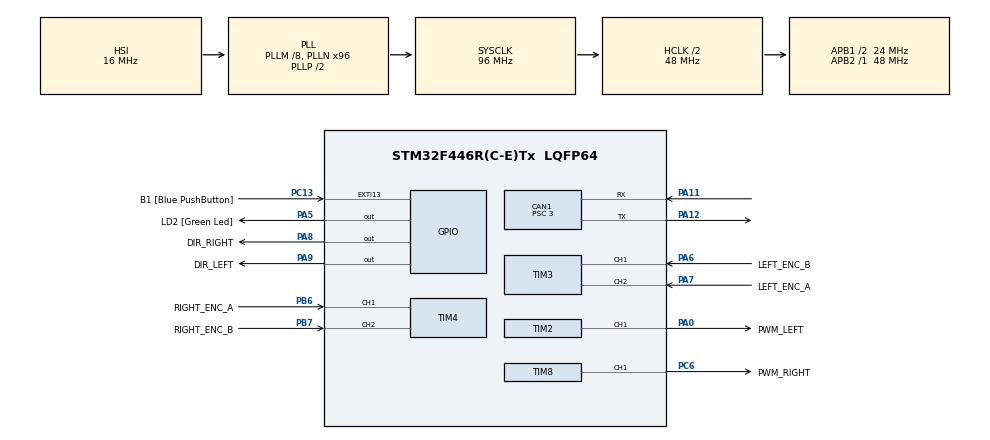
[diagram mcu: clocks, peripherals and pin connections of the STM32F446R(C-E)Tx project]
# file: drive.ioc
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CAN1.BS1=CAN_BS1_13TQ
CAN1.BS2=CAN_BS2_2TQ
CAN1.CalculateBaudRate=500000
CAN1.CalculateTimeBit=2000
CAN1.CalculateTimeQuantum=125.0
CAN1.Prescaler=3
Mcu.Family=STM32F4
Mcu.Name=STM32F446R(C-E)Tx
Mcu.Package=LQFP64
NVIC.CAN1_RX0_IRQn=true\:0\:0\:false\:false\:true\:true\:true\:true
NVIC.PriorityGroup=NVIC_PRIORITYGROUP_0
PA0-WKUP.GPIO_Label=PWM_LEFT
PA0-WKUP.Signal=S_TIM2_CH1_ETR
PA11.Mode=CAN_Activate
PA11.Signal=CAN1_RX
PA12.Mode=CAN_Activate
PA12.Signal=CAN1_TX
PA13.GPIO_Label=TMS
PA13.Signal=SYS_JTMS-SWDIO
PA14.GPIO_Label=TCK
PA14.Signal=SYS_JTCK-SWCLK
PA2.GPIO_Label=USART_TX
PA2.Signal=USART2_TX
PA3.GPIO_Label=USART_RX
PA3.Signal=USART2_RX
PA5.GPIO_Label=LD2 [Green Led]
PA5.Signal=GPIO_Output
PA6.GPIO_Label=LEFT_ENC_B
PA6.Signal=S_TIM3_CH1
PA7.GPIO_Label=LEFT_ENC_A
PA7.Signal=S_TIM3_CH2
PA8.GPIO_Label=DIR_RIGHT
PA8.GPIO_PuPd=GPIO_PULLUP
PA8.Signal=GPIO_Output
PA9.GPIO_Label=DIR_LEFT
PA9.GPIO_PuPd=GPIO_PULLUP
PA9.Signal=GPIO_Output
PB3.GPIO_Label=SWO
PB3.Signal=SYS_JTDO-SWO
PB6.GPIO_Label=RIGHT_ENC_A
PB6.Signal=S_TIM4_CH1
PB7.GPIO_Label=RIGHT_ENC_B
PB7.Signal=S_TIM4_CH2
PC13.GPIO_Label=B1 [Blue PushButton]
PC13.GPIO_ModeDefaultEXTI=GPIO_MODE_IT_FALLING
PC13.Signal=GPXTI13
PC14-OSC32_IN.Signal=RCC_OSC32_IN
PC15-OSC32_OUT.Signal=RCC_OSC32_OUT
PC6.GPIO_Label=PWM_RIGHT
PC6.Signal=S_TIM8_CH1
PH0-OSC_IN.Mode=HSE-External-Oscillator
PH0-OSC_IN.Signal=RCC_OSC_IN
PH1-OSC_OUT.Mode=HSE-External-Oscillator
PH1-OSC_OUT.Signal=RCC_OSC_OUT
ProjectManager.HeapSize=0x200
ProjectManager.StackSize=0x400
ProjectManager.TargetToolchain=STM32CubeIDE
RCC.AHBCLKDivider=RCC_SYSCLK_DIV2
RCC.AHBFreq_Value=48000000
RCC.APB1CLKDivider=RCC_HCLK_DIV2
RCC.APB1Freq_Value=24000000
RCC.APB1TimFreq_Value=48000000
RCC.APB2Freq_Value=48000000
RCC.APB2TimFreq_Value=48000000
RCC.CortexFreq_Value=48000000
RCC.FLatency-AdvancedSettings=FLASH_LATENCY_1
RCC.HCLKFreq_Value=48000000
RCC.HSE_VALUE=8000000
RCC.HSI_VALUE=16000000
RCC.LSE_VALUE=32768
RCC.PLLM=8
RCC.PLLN=96
RCC.SYSCLKFreq_VALUE=96000000
RCC.SYSCLKSource=RCC_SYSCLKSOURCE_PLLCLK
RCC.USBFreq_Value=96000000
RCC.VCOOutputFreq_Value=192000000
SH.S_TIM2_CH1_ETR.0=TIM2_CH1,PWM Generation1 CH1
SH.S_TIM3_CH1.0=TIM3_CH1,Encoder_Interface
SH.S_TIM3_CH2.0=TIM3_CH2,Encoder_Interface
SH.S_TIM4_CH1.0=TIM4_CH1,Encoder_Interface
SH.S_TIM4_CH2.0=TIM4_CH2,Encoder_Interface
SH.S_TIM8_CH1.0=TIM8_CH1,PWM Generation1 CH1
TIM2.AutoReloadPreload=TIM_AUTORELOAD_PRELOAD_ENABLE
TIM2.Channel-PWM\ Generation1\ CH1=TIM_CHANNEL_1
TIM2.Period=2399
TIM3.AutoReloadPreload=TIM_AUTORELOAD_PRELOAD_ENABLE
TIM3.EncoderMode=TIM_ENCODERMODE_TI12
TIM3.IC1Filter=4
TIM3.IC2Filter=4
TIM4.AutoReloadPreload=TIM_AUTORELOAD_PRELOAD_ENABLE
TIM4.EncoderMode=TIM_ENCODERMODE_TI12
TIM4.IC1Filter=4
TIM4.IC2Filter=4
TIM8.AutoReloadPreload=TIM_AUTORELOAD_PRELOAD_ENABLE
TIM8.Channel-PWM\ Generation1\ CH1=TIM_CHANNEL_1
TIM8.Period=2399
board=NUCLEO-F446RE

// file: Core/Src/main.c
/* USER CODE BEGIN Header */
/**
  ******************************************************************************
  * @file           : main.c
  * @brief          : Main program body
  ******************************************************************************
  * @attention
  *
  * Copyright (c) 2026 STMicroelectronics.
  * All rights reserved.
  *
  * This software is licensed under terms that can be found in the LICENSE file
  * in the root directory of this software component.
  * If no LICENSE file comes with this software, it is provided AS-IS.
  *
  ******************************************************************************
  */
/* USER CODE END Header */
#include "main.h"

/* USER CODE BEGIN Includes */
#include "can_device.h"
/* USER CODE END Includes */

/* USER CODE BEGIN PTD */
typedef struct {
    float x;      // X position in meters
    float y;      // Y position in meters
    float theta;  // Heading in radians
} Odometry_t;

/* USER CODE END PTD */

/* USER CODE BEGIN PD */
// subsystem constants
#define TIM_4_DT 0.010
#define ARR_MAX 2400

#define MOTOR_FWR 1
#define MOTOR_BCK 0

#define TICKS_PER_REV 966

// Tank Tread Physical Constants
#define SPROCKET_RADIUS 0.05f      // Radius of drive sprocket + track thickness (meters)
#define PHYSICAL_TRACK_WIDTH 0.25f // Physical distance between the center of the two treads (meters)
#define SKID_MULTIPLIER 1.35f      // TUNE THIS: Resistance to turning (usually 1.2 to 1.6)
#define EFFECTIVE_TRACK_WIDTH (PHYSICAL_TRACK_WIDTH * SKID_MULTIPLIER)

// Velocity Limits
#define MAX_MOTOR_M_S 1.5f         // Max linear speed of the tread in m/s at 100% power

// PID Constants (TUNE THESE for m/s error values)
#define VEL_KP 1.75f
#define VEL_KI 0.3f
#define VEL_KD 0.05f
#define MAX_INTEGRAL 0.5f

#define PI 3.14159265358979f

// ---------------- CAN message constants (can be added to form message) ----------------
// device id bits [8:5]
#define CAN_DEV_ID 0x80

// priority bits (first two bits of CAN ID)
#define CAN_PR_CRIT 0x000 // 0b00
#define CAN_PR_CTRL 0x200 // 0b01
#define CAN_PR_STAT 0x400 // 0b10
#define CAN_PR_DBUG 0x600 // 0b11

// message type bits (last five bits)
#define FILLER_MESSAGE 0x000

// CAN receive filter IDs
#define CAN_MSG_GLOBAL_STOP 0x000
#define CAN_MSG_HEARTBEAT 0x001
#define CAN_MSG_CHASSIS_LIN_VEL 0x220
#define CAN_MSG_CHASSIS_ANG_VEL 0x221

#define FILTER_LIST_LEN 4
/* USER CODE END PD */

CAN_HandleTypeDef hcan1;

TIM_HandleTypeDef htim2;
TIM_HandleTypeDef htim3;
TIM_HandleTypeDef htim4;
TIM_HandleTypeDef htim8;

/* USER CODE BEGIN PV */
CANDevice_t can_dev;
uint16_t rx_id_list[] = {CAN_MSG_GLOBAL_STOP, CAN_MSG_HEARTBEAT, CAN_MSG_CHASSIS_LIN_VEL, CAN_MSG_CHASSIS_ANG_VEL};
Odometry_t robot_odom = {0.0f, 0.0f, 0.0f};

static float vel_right = 0;
static float rpm_right = 0;
static float vel_left = 0;
static float rpm_left = 0;

// Globals for CAN communication and state
volatile float target_lin_vel = 0.0f; // in m/s
volatile float target_ang_vel = 0.0f; // in rad/s
volatile uint8_t global_stop_active = 0; // 0 = running, 1 = e-stopped
/* USER CODE END PV */

void SystemClock_Config(void);
static void MX_GPIO_Init(void);
static void MX_TIM2_Init(void);
static void MX_TIM3_Init(void);
static void MX_TIM8_Init(void);
static void MX_CAN1_Init(void);
static void MX_TIM4_Init(void);
/* USER CODE BEGIN PFP */
// CAN function callback plus helpers
static void can_rx_callback(CANDevice_t *device);
static void proccess_can_data(uint16_t message_id, uint8_t *data);

// left and right motor functions
static void set_left_pwr(float pwr);
static void set_right_pwr(float pwr);

static float get_left_vel();
static float get_right_vel();

static void set_left_vel(float target_m_s);
static void set_right_vel(float target_m_s);

// encoder helper functions
static int16_t 	get_right_rpm(); // directional
static int16_t 	get_left_rpm(); // directional

static void set_chassis_vel(float linear_v, float angular_w);
static void update_odometry();

// helper functions
double clamp(double value, double min, double max) {
    return (value < min) ? min : (value > max) ? max : value;
}

/* USER CODE END PFP */

int main(void)
{

  /* MCU Configuration--------------------------------------------------------*/

  /* Reset of all peripherals, Initializes the Flash interface and the Systick. */
  HAL_Init();

  /* Configure the system clock */
  SystemClock_Config();

  /* Initialize all configured peripherals */
  MX_GPIO_Init();
  MX_TIM2_Init();
  MX_TIM3_Init();
  MX_TIM8_Init();
  MX_CAN1_Init();
  MX_TIM4_Init();
  /* USER CODE BEGIN 2 */
  // start CAN device
  device_can_init(&can_dev, &hcan1);

  // config the CAN device filter banks
  can_config_filter(&can_dev, rx_id_list, FILTER_LIST_LEN);

  // link the can rx callback
  link_rx_callback(&can_dev, can_rx_callback);

  // Start the encoder timers
  HAL_TIM_Encoder_Start(&htim3, TIM_CHANNEL_ALL);
  HAL_TIM_Encoder_Start(&htim4, TIM_CHANNEL_ALL);

  // start motor pwm signals
  HAL_TIM_PWM_Start(&htim2, TIM_CHANNEL_1);
  HAL_TIM_PWM_Start(&htim8, TIM_CHANNEL_1);

  set_right_pwr(0);
  set_left_pwr(0);

  HAL_Delay(100); // delay for resetting the motor driver using the set powers above

  /* USER CODE END 2 */

  /* Infinite loop */
  /* USER CODE BEGIN WHILE */
  while (1)
  {
	  // 1. Read current states
	rpm_right = get_right_rpm();
	vel_right = get_right_vel();

	rpm_left = get_left_rpm();
	vel_left = get_left_vel();

	// 2. Apply motor commands based on CAN targets
	if (!global_stop_active) {
		// Feed the latest CAN targets into the chassis kinematics
		set_chassis_vel(target_lin_vel, target_ang_vel);
	} else {
		// Force power to 0 if an E-Stop is active
		set_left_pwr(0.0f);
		set_right_pwr(0.0f);
	}

	// 3. Update position on the field
	update_odometry();

	// 4. Control loop timing
	HAL_Delay(50);
    /* USER CODE END WHILE */

  }
}

void SystemClock_Config(void)
{
  RCC_OscInitTypeDef RCC_OscInitStruct = {0};
  RCC_ClkInitTypeDef RCC_ClkInitStruct = {0};

  /** Configure the main internal regulator output voltage
  */
  __HAL_RCC_PWR_CLK_ENABLE();
  __HAL_PWR_VOLTAGESCALING_CONFIG(PWR_REGULATOR_VOLTAGE_SCALE3);

  /** Initializes the RCC Oscillators according to the specified parameters
  * in the RCC_OscInitTypeDef structure.
  */
  RCC_OscInitStruct.OscillatorType = RCC_OSCILLATORTYPE_HSI;
  RCC_OscInitStruct.HSIState = RCC_HSI_ON;
  RCC_OscInitStruct.HSICalibrationValue = RCC_HSICALIBRATION_DEFAULT;
  RCC_OscInitStruct.PLL.PLLState = RCC_PLL_ON;
  RCC_OscInitStruct.PLL.PLLSource = RCC_PLLSOURCE_HSI;
  RCC_OscInitStruct.PLL.PLLM = 8;
  RCC_OscInitStruct.PLL.PLLN = 96;
  RCC_OscInitStruct.PLL.PLLP = RCC_PLLP_DIV2;
  RCC_OscInitStruct.PLL.PLLQ = 2;
  RCC_OscInitStruct.PLL.PLLR = 2;
  if (HAL_RCC_OscConfig(&RCC_OscInitStruct) != HAL_OK)
  {
    Error_Handler();
  }

  /** Initializes the CPU, AHB and APB buses clocks
  */
  RCC_ClkInitStruct.ClockType = RCC_CLOCKTYPE_HCLK|RCC_CLOCKTYPE_SYSCLK
                              |RCC_CLOCKTYPE_PCLK1|RCC_CLOCKTYPE_PCLK2;
  RCC_ClkInitStruct.SYSCLKSource = RCC_SYSCLKSOURCE_PLLCLK;
  RCC_ClkInitStruct.AHBCLKDivider = RCC_SYSCLK_DIV2;
  RCC_ClkInitStruct.APB1CLKDivider = RCC_HCLK_DIV2;
  RCC_ClkInitStruct.APB2CLKDivider = RCC_HCLK_DIV1;

  if (HAL_RCC_ClockConfig(&RCC_ClkInitStruct, FLASH_LATENCY_1) != HAL_OK)
  {
    Error_Handler();
  }
}

static void MX_CAN1_Init(void)
{

  hcan1.Instance = CAN1;
  hcan1.Init.Prescaler = 3;
  hcan1.Init.Mode = CAN_MODE_NORMAL;
  hcan1.Init.SyncJumpWidth = CAN_SJW_1TQ;
  hcan1.Init.TimeSeg1 = CAN_BS1_13TQ;
  hcan1.Init.TimeSeg2 = CAN_BS2_2TQ;
  hcan1.Init.TimeTriggeredMode = DISABLE;
  hcan1.Init.AutoBusOff = DISABLE;
  hcan1.Init.AutoWakeUp = DISABLE;
  hcan1.Init.AutoRetransmission = DISABLE;
  hcan1.Init.ReceiveFifoLocked = DISABLE;
  hcan1.Init.TransmitFifoPriority = DISABLE;
  if (HAL_CAN_Init(&hcan1) != HAL_OK)
  {
    Error_Handler();
  }

}

static void MX_TIM2_Init(void)
{

  TIM_MasterConfigTypeDef sMasterConfig = {0};
  TIM_OC_InitTypeDef sConfigOC = {0};

  htim2.Instance = TIM2;
  htim2.Init.Prescaler = 0;
  htim2.Init.CounterMode = TIM_COUNTERMODE_UP;
  htim2.Init.Period = 2399;
  htim2.Init.ClockDivision = TIM_CLOCKDIVISION_DIV1;
  htim2.Init.AutoReloadPreload = TIM_AUTORELOAD_PRELOAD_ENABLE;
  if (HAL_TIM_PWM_Init(&htim2) != HAL_OK)
  {
    Error_Handler();
  }
  sMasterConfig.MasterOutputTrigger = TIM_TRGO_RESET;
  sMasterConfig.MasterSlaveMode = TIM_MASTERSLAVEMODE_DISABLE;
  if (HAL_TIMEx_MasterConfigSynchronization(&htim2, &sMasterConfig) != HAL_OK)
  {
    Error_Handler();
  }
  sConfigOC.OCMode = TIM_OCMODE_PWM1;
  sConfigOC.Pulse = 0;
  sConfigOC.OCPolarity = TIM_OCPOLARITY_HIGH;
  sConfigOC.OCFastMode = TIM_OCFAST_DISABLE;
  if (HAL_TIM_PWM_ConfigChannel(&htim2, &sConfigOC, TIM_CHANNEL_1) != HAL_OK)
  {
    Error_Handler();
  }
  HAL_TIM_MspPostInit(&htim2);

}

static void MX_TIM3_Init(void)
{

  TIM_Encoder_InitTypeDef sConfig = {0};
  TIM_MasterConfigTypeDef sMasterConfig = {0};

  htim3.Instance = TIM3;
  htim3.Init.Prescaler = 0;
  htim3.Init.CounterMode = TIM_COUNTERMODE_UP;
  htim3.Init.Period = 65535;
  htim3.Init.ClockDivision = TIM_CLOCKDIVISION_DIV1;
  htim3.Init.AutoReloadPreload = TIM_AUTORELOAD_PRELOAD_ENABLE;
  sConfig.EncoderMode = TIM_ENCODERMODE_TI12;
  sConfig.IC1Polarity = TIM_ICPOLARITY_RISING;
  sConfig.IC1Selection = TIM_ICSELECTION_DIRECTTI;
  sConfig.IC1Prescaler = TIM_ICPSC_DIV1;
  sConfig.IC1Filter = 4;
  sConfig.IC2Polarity = TIM_ICPOLARITY_RISING;
  sConfig.IC2Selection = TIM_ICSELECTION_DIRECTTI;
  sConfig.IC2Prescaler = TIM_ICPSC_DIV1;
  sConfig.IC2Filter = 4;
  if (HAL_TIM_Encoder_Init(&htim3, &sConfig) != HAL_OK)
  {
    Error_Handler();
  }
  sMasterConfig.MasterOutputTrigger = TIM_TRGO_RESET;
  sMasterConfig.MasterSlaveMode = TIM_MASTERSLAVEMODE_DISABLE;
  if (HAL_TIMEx_MasterConfigSynchronization(&htim3, &sMasterConfig) != HAL_OK)
  {
    Error_Handler();
  }

}

static void MX_TIM4_Init(void)
{

  TIM_Encoder_InitTypeDef sConfig = {0};
  TIM_MasterConfigTypeDef sMasterConfig = {0};

  htim4.Instance = TIM4;
  htim4.Init.Prescaler = 0;
  htim4.Init.CounterMode = TIM_COUNTERMODE_UP;
  htim4.Init.Period = 65535;
  htim4.Init.ClockDivision = TIM_CLOCKDIVISION_DIV1;
  htim4.Init.AutoReloadPreload = TIM_AUTORELOAD_PRELOAD_ENABLE;
  sConfig.EncoderMode = TIM_ENCODERMODE_TI12;
  sConfig.IC1Polarity = TIM_ICPOLARITY_RISING;
  sConfig.IC1Selection = TIM_ICSELECTION_DIRECTTI;
  sConfig.IC1Prescaler = TIM_ICPSC_DIV1;
  sConfig.IC1Filter = 4;
  sConfig.IC2Polarity = TIM_ICPOLARITY_RISING;
  sConfig.IC2Selection = TIM_ICSELECTION_DIRECTTI;
  sConfig.IC2Prescaler = TIM_ICPSC_DIV1;
  sConfig.IC2Filter = 4;
  if (HAL_TIM_Encoder_Init(&htim4, &sConfig) != HAL_OK)
  {
    Error_Handler();
  }
  sMasterConfig.MasterOutputTrigger = TIM_TRGO_RESET;
  sMasterConfig.MasterSlaveMode = TIM_MASTERSLAVEMODE_DISABLE;
  if (HAL_TIMEx_MasterConfigSynchronization(&htim4, &sMasterConfig) != HAL_OK)
  {
    Error_Handler();
  }

}

static void MX_TIM8_Init(void)
{

  TIM_MasterConfigTypeDef sMasterConfig = {0};
  TIM_OC_InitTypeDef sConfigOC = {0};
  TIM_BreakDeadTimeConfigTypeDef sBreakDeadTimeConfig = {0};

  htim8.Instance = TIM8;
  htim8.Init.Prescaler = 0;
  htim8.Init.CounterMode = TIM_COUNTERMODE_UP;
  htim8.Init.Period = 2399;
  htim8.Init.ClockDivision = TIM_CLOCKDIVISION_DIV1;
  htim8.Init.RepetitionCounter = 0;
  htim8.Init.AutoReloadPreload = TIM_AUTORELOAD_PRELOAD_ENABLE;
  if (HAL_TIM_PWM_Init(&htim8) != HAL_OK)
  {
    Error_Handler();
  }
  sMasterConfig.MasterOutputTrigger = TIM_TRGO_RESET;
  sMasterConfig.MasterSlaveMode = TIM_MASTERSLAVEMODE_DISABLE;
  if (HAL_TIMEx_MasterConfigSynchronization(&htim8, &sMasterConfig) != HAL_OK)
  {
    Error_Handler();
  }
  sConfigOC.OCMode = TIM_OCMODE_PWM1;
  sConfigOC.Pulse = 0;
  sConfigOC.OCPolarity = TIM_OCPOLARITY_HIGH;
  sConfigOC.OCNPolarity = TIM_OCNPOLARITY_HIGH;
  sConfigOC.OCFastMode = TIM_OCFAST_DISABLE;
  sConfigOC.OCIdleState = TIM_OCIDLESTATE_RESET;
  sConfigOC.OCNIdleState = TIM_OCNIDLESTATE_RESET;
  if (HAL_TIM_PWM_ConfigChannel(&htim8, &sConfigOC, TIM_CHANNEL_1) != HAL_OK)
  {
    Error_Handler();
  }
  sBreakDeadTimeConfig.OffStateRunMode = TIM_OSSR_DISABLE;
  sBreakDeadTimeConfig.OffStateIDLEMode = TIM_OSSI_DISABLE;
  sBreakDeadTimeConfig.LockLevel = TIM_LOCKLEVEL_OFF;
  sBreakDeadTimeConfig.DeadTime = 0;
  sBreakDeadTimeConfig.BreakState = TIM_BREAK_DISABLE;
  sBreakDeadTimeConfig.BreakPolarity = TIM_BREAKPOLARITY_HIGH;
  sBreakDeadTimeConfig.AutomaticOutput = TIM_AUTOMATICOUTPUT_DISABLE;
  if (HAL_TIMEx_ConfigBreakDeadTime(&htim8, &sBreakDeadTimeConfig) != HAL_OK)
  {
    Error_Handler();
  }
  HAL_TIM_MspPostInit(&htim8);

}

static void MX_GPIO_Init(void)
{
  GPIO_InitTypeDef GPIO_InitStruct = {0};

  /* GPIO Ports Clock Enable */
  __HAL_RCC_GPIOC_CLK_ENABLE();
  __HAL_RCC_GPIOH_CLK_ENABLE();
  __HAL_RCC_GPIOA_CLK_ENABLE();
  __HAL_RCC_GPIOB_CLK_ENABLE();

  /*Configure GPIO pin Output Level */
  HAL_GPIO_WritePin(GPIOA, LD2_Pin|DIR_RIGHT_Pin|DIR_LEFT_Pin, GPIO_PIN_RESET);

  /*Configure GPIO pin : B1_Pin */
  GPIO_InitStruct.Pin = B1_Pin;
  GPIO_InitStruct.Mode = GPIO_MODE_IT_FALLING;
  GPIO_InitStruct.Pull = GPIO_NOPULL;
  HAL_GPIO_Init(B1_GPIO_Port, &GPIO_InitStruct);

  /*Configure GPIO pins : USART_TX_Pin USART_RX_Pin */
  GPIO_InitStruct.Pin = USART_TX_Pin|USART_RX_Pin;
  GPIO_InitStruct.Mode = GPIO_MODE_AF_PP;
  GPIO_InitStruct.Pull = GPIO_NOPULL;
  GPIO_InitStruct.Speed = GPIO_SPEED_FREQ_VERY_HIGH;
  GPIO_InitStruct.Alternate = GPIO_AF7_USART2;
  HAL_GPIO_Init(GPIOA, &GPIO_InitStruct);

  /*Configure GPIO pin : LD2_Pin */
  GPIO_InitStruct.Pin = LD2_Pin;
  GPIO_InitStruct.Mode = GPIO_MODE_OUTPUT_PP;
  GPIO_InitStruct.Pull = GPIO_NOPULL;
  GPIO_InitStruct.Speed = GPIO_SPEED_FREQ_LOW;
  HAL_GPIO_Init(LD2_GPIO_Port, &GPIO_InitStruct);

  /*Configure GPIO pins : DIR_RIGHT_Pin DIR_LEFT_Pin */
  GPIO_InitStruct.Pin = DIR_RIGHT_Pin|DIR_LEFT_Pin;
  GPIO_InitStruct.Mode = GPIO_MODE_OUTPUT_PP;
  GPIO_InitStruct.Pull = GPIO_PULLUP;
  GPIO_InitStruct.Speed = GPIO_SPEED_FREQ_LOW;
  HAL_GPIO_Init(GPIOA, &GPIO_InitStruct);

}

/* USER CODE BEGIN 4 */

// callback for receiving CAN data
static void can_rx_callback(CANDevice_t *device) {
	if (device->msgReceived) {
		// Only pull data if we actually have a new message
		uint8_t *rx_data = device->rxBuffer;
		uint16_t message_id = device->rxHeader.StdId;

		proccess_can_data(message_id, rx_data);

		device->msgReceived = false;
	}
}

// proccess the can data based on the message ID (little endian data protocol)
static void proccess_can_data(uint16_t message_id, uint8_t *data) {
    float received_val;

    // Copy the 4 bytes back into a float variable
    memcpy(&received_val, data, sizeof(float));

    switch (message_id) {
        case CAN_MSG_GLOBAL_STOP:
            // Set the stop flag and kill power immediately
            global_stop_active = 1;
            set_left_pwr(0.0f);
            set_right_pwr(0.0f);
            break;

        case CAN_MSG_HEARTBEAT:
            // Visual indicator that the CAN bus is healthy
            HAL_GPIO_TogglePin(LD2_GPIO_Port, LD2_Pin);

            // If a heartbeat means it's safe to resume, you could clear the stop flag here:
            // global_stop_active = 0;
            break;

        case CAN_MSG_CHASSIS_LIN_VEL:
            // Update the target forward/backward speed (m/s)
            target_lin_vel = received_val;
            break;

        case CAN_MSG_CHASSIS_ANG_VEL:
            // Update the target rotational speed (rad/s)
            target_ang_vel = received_val;
            break;

        default:
            // Unrecognized message ID; ignore
            break;
    }
}

static int16_t 	get_left_rpm() {
	static uint16_t previous_count = 0;
	static uint32_t previous_time = 0;
	static int16_t last_rpm = 0;

	uint32_t current_time = HAL_GetTick();
	uint32_t dt = current_time - previous_time;

	if (dt == 0) return last_rpm;

	uint16_t current_count = __HAL_TIM_GET_COUNTER(&htim3);
	int16_t velocity_ticks = (int16_t)(current_count - previous_count);

	previous_count = current_count;
	previous_time = current_time;

	// Math: (ticks / dt_in_ms) * (1000ms / 1sec) * (60sec / 1min) / 2160 CPR
	float rpm = ((float)velocity_ticks / (float)dt) * 1000.0f * 60.0f / TICKS_PER_REV;

	last_rpm = (int16_t)rpm;
	return last_rpm;
}

static int16_t 	get_right_rpm() {
	static uint16_t previous_count = 0;
		static uint32_t previous_time = 0;
		static int16_t last_rpm = 0;

		uint32_t current_time = HAL_GetTick();
		uint32_t dt = current_time - previous_time;

		if (dt == 0) return last_rpm;

		uint16_t current_count = __HAL_TIM_GET_COUNTER(&htim4);
		int16_t velocity_ticks = (int16_t)(current_count - previous_count);

		previous_count = current_count;
		previous_time = current_time;

		// Math: (ticks / dt_in_ms) * (1000ms / 1sec) * (60sec / 1min) / 2160 CPR
		float rpm = ((float)velocity_ticks / (float)dt) * 1000.0f * 60.0f / TICKS_PER_REV;

		last_rpm = (int16_t)rpm;
		return last_rpm;
}

static void set_left_pwr(float pwr) {
	float clamped_pwr = clamp(pwr, -1, 1);
	if (clamped_pwr < 0) HAL_GPIO_WritePin(GPIOA, DIR_LEFT_Pin, MOTOR_BCK);
	if (clamped_pwr >= 0) HAL_GPIO_WritePin(GPIOA, DIR_LEFT_Pin, MOTOR_FWR);

	uint32_t pwm_val = (uint32_t)(fabs(clamped_pwr) * ARR_MAX);
	__HAL_TIM_SET_COMPARE(&htim2, TIM_CHANNEL_1, pwm_val);
}

static void set_right_pwr(float pwr) {
	float clamped_pwr = clamp(pwr, -1, 1);
	if (clamped_pwr < 0) HAL_GPIO_WritePin(GPIOA, DIR_RIGHT_Pin, MOTOR_BCK);
	if (clamped_pwr >= 0) HAL_GPIO_WritePin(GPIOA, DIR_RIGHT_Pin, MOTOR_FWR);

	uint32_t pwm_val = (uint32_t)(fabs(clamped_pwr) * ARR_MAX);
	__HAL_TIM_SET_COMPARE(&htim8, TIM_CHANNEL_1, pwm_val);
}

static float get_left_vel() {
    int16_t rpm = get_left_rpm();
    // Convert RPM to linear velocity (m/s)
    // Formula: (RPM / 60) * (2 * PI * Radius)
    return ((float)rpm / 60.0f) * (2.0f * PI * SPROCKET_RADIUS);
}

static float get_right_vel() {
    int16_t rpm = get_right_rpm();
    return ((float)rpm / 60.0f) * (2.0f * PI * SPROCKET_RADIUS);
}

static void set_left_vel(float target_m_s) {
    static float integral = 0.0f;
    static float prev_error = 0.0f;
    static uint32_t prev_time = 0;

    // Calculate time delta (dt)
    uint32_t current_time = HAL_GetTick();
    float dt = (float)(current_time - prev_time) / 1000.0f;

    // Prevent division by zero and handle first loop iteration
    if (dt <= 0.0f) dt = 0.001f;
    prev_time = current_time;

    float current_vel = get_left_vel();
    float error = target_m_s - current_vel;

    // True integration over time
    integral += (error * dt);
    integral = clamp(integral, -MAX_INTEGRAL, MAX_INTEGRAL);

    // True derivative over time
    float derivative = (error - prev_error) / dt;
    prev_error = error;

    // Calculate final output
    float feed_forward = target_m_s / MAX_MOTOR_M_S;
    float output_pwr = feed_forward + (VEL_KP * error) + (VEL_KI * integral) + (VEL_KD * derivative);

    set_left_pwr(output_pwr);
}

static void set_right_vel(float target_m_s) {
    static float integral = 0.0f;
    static float prev_error = 0.0f;
    static uint32_t prev_time = 0;

    // Calculate time delta (dt)
    uint32_t current_time = HAL_GetTick();
    float dt = (float)(current_time - prev_time) / 1000.0f;

    // Prevent division by zero and handle first loop iteration
    if (dt <= 0.0f) dt = 0.001f;
    prev_time = current_time;

    float current_vel = get_right_vel();
    float error = target_m_s - current_vel;

    // True integration over time
    integral += (error * dt);
    integral = clamp(integral, -MAX_INTEGRAL, MAX_INTEGRAL);

    // True derivative over time
    float derivative = (error - prev_error) / dt;
    prev_error = error;

    // Calculate final output
    float feed_forward = target_m_s / MAX_MOTOR_M_S;
    float output_pwr = feed_forward + (VEL_KP * error) + (VEL_KI * integral) + (VEL_KD * derivative);

    set_right_pwr(output_pwr);
}

/**
 * @brief Sets the velocity of the entire tank chassis.
 * @param linear_v Target forward velocity in m/s
 * @param angular_w Target rotational velocity in rad/s (positive = turning left)
 */
static void set_chassis_vel(float linear_v, float angular_w) {
    // Calculate required linear velocity for each tread (m/s)
    // v = v_center +/- (omega * effective_width / 2)
    float target_v_right = linear_v + (angular_w * EFFECTIVE_TRACK_WIDTH / 2.0f);
    float target_v_left  = linear_v - (angular_w * EFFECTIVE_TRACK_WIDTH / 2.0f);

    // Apply directly to motor controllers (no rad/s conversion needed!)
    set_right_vel(target_v_right);
    set_left_vel(target_v_left);
}

static void update_odometry() {
    static uint32_t previous_time = 0;
    uint32_t current_time = HAL_GetTick();

    // Calculate delta time in seconds
    float dt = (float)(current_time - previous_time) / 1000.0f;
    if (dt <= 0.0f) return;
    previous_time = current_time;

    // Get current linear velocities directly in m/s
    float v_left = get_left_vel();
    float v_right = get_right_vel();

    // Calculate chassis center velocities
    float linear_v = (v_right + v_left) / 2.0f;
    float angular_w = (v_right - v_left) / EFFECTIVE_TRACK_WIDTH;

    // Integrate to find position on the field
    robot_odom.x += linear_v * cosf(robot_odom.theta) * dt;
    robot_odom.y += linear_v * sinf(robot_odom.theta) * dt;
    robot_odom.theta += angular_w * dt;

    // Wrap heading between -PI and PI
    while (robot_odom.theta > PI)  robot_odom.theta -= 2.0f * PI;
    while (robot_odom.theta <= -PI) robot_odom.theta += 2.0f * PI;
}
/* USER CODE END 4 */

void Error_Handler(void)
{
  __disable_irq();
  while (1)
  {
  }
}
